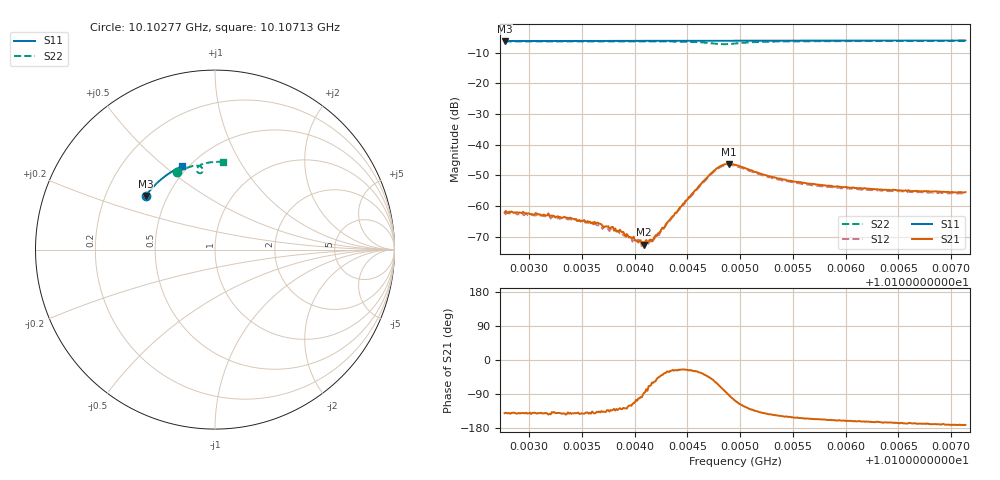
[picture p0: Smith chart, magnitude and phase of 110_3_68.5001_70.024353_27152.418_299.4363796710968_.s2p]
#  HZ  S  RI  R  50.00
! Rohde & Schwarz Vector Network Analyzer
! Rohde-Schwarz,ZNB20-2Port,1311601062101988,3.16
! Created: UTC 3/20/2024, 4:53:32 PM
! freq[Hz]  re:S11  im:S11  re:S21  im:S21  re:S12  im:S12  re:S22  im:S22
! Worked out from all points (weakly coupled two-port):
!   401 points, 10.10277 GHz to 10.10713 GHz, reference 50 ohm
!   highest |S21| = -46.29 dB at 10.1049 GHz (marker M1); lowest = -72.6 dB at 10.10409 GHz (marker M2)
!   lowest |S11| = -6.2 dB at 10.10277 GHz (marker M3), VSWR 2.90, Z = 19 + j14.8 ohm
!   |S11| at or under -10 dB: nowhere
!   |S22| runs from -7.3 to -6.2 dB; largest |S21 - S12| = 0.00051
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1.0102768e10  -0.3858 0.2981  -0.0006 -0.000499  -0.000534 -0.000541  -0.2118 0.4309
1.0103161e10  -0.3716 0.3175  -0.000535 -0.000453  -0.000507 -0.000454  -0.1885 0.4425
1.0103499e10  -0.3587 0.3334  -0.00045 -0.000367  -0.000401 -0.000382  -0.1672 0.4519
1.0103641e10  -0.3531 0.3401  -0.000384 -0.000363  -0.000325 -0.000359  -0.1581 0.4553
1.0103717e10  -0.3501 0.3434  -0.000336 -0.000312  -0.000296 -0.000335  -0.153 0.4571
1.0103794e10  -0.3469 0.3469  -0.000302 -0.000342  -0.000261 -0.000332  -0.1479 0.4589
1.0103881e10  -0.3434 0.3507  -0.000238 -0.000287  -0.000192 -0.00031  -0.1417 0.4609
1.0103925e10  -0.3414 0.3527  -0.000215 -0.000273  -0.000147 -0.000286  -0.1386 0.4618
1.0104001e10  -0.3384 0.356  -0.000105 -0.000254  -7.67e-05 -0.000264  -0.1333 0.4633
1.0104023e10  -0.3373 0.357  -8.12e-05 -0.000258  -6.57e-05 -0.000257  -0.1314 0.4637
1.0104089e10  -0.3348 0.3599  1.32e-05 -0.000233  5.32e-06 -0.000244  -0.1266 0.4649
1.0104143e10  -0.3323 0.3623  0.000104 -0.000262  0.000138 -0.000244  -0.1221 0.4657
1.010423e10  -0.3286 0.3659  0.000255 -0.000257  0.000246 -0.000224  -0.115 0.4669
1.0104492e10  -0.317 0.3769  0.00111 -0.000537  0.00115 -0.000414  -0.0899 0.4663
1.0104711e10  -0.3068 0.3856  0.00224 -0.00233  0.00234 -0.00204  -0.0677 0.4471
1.0104809e10  -0.3025 0.3894  0.00156 -0.00415  0.00187 -0.00382  -0.0731 0.4296
1.0104896e10  -0.2985 0.3927  -0.000338 -0.00483  0.000136 -0.00467  -0.0903 0.4266
1.0104951e10  -0.296 0.3948  -0.0014 -0.0045  -0.000959 -0.00441  -0.0981 0.4335
1.0105289e10  -0.2801 0.4076  -0.00244 -0.0018  -0.00219 -0.00191  -0.0827 0.4702
1.0105682e10  -0.2605 0.4215  -0.00208 -0.000945  -0.00191 -0.00107  -0.0521 0.4818
1.0106413e10  -0.2228 0.4445  -0.00176 -0.000476  -0.00163 -0.000602  -0.00139 0.4884
1.0107134e10  -0.1837 0.4637  -0.00166 -0.000254  -0.00157 -0.000381  0.0464 0.4885
